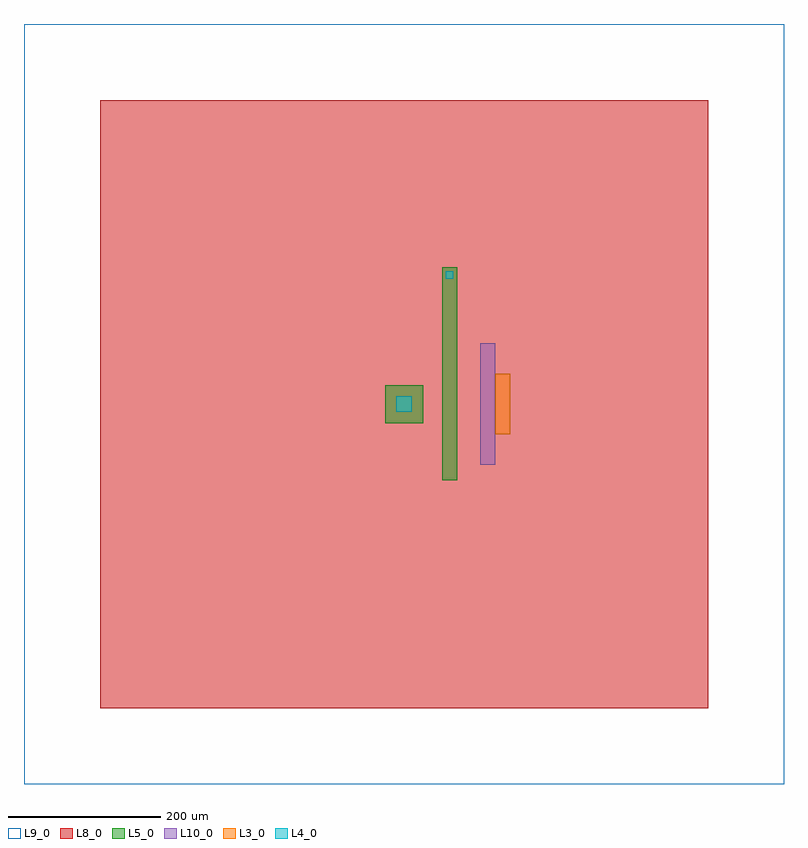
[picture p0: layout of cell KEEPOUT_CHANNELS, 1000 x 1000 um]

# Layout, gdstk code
import gdstk
lib = gdstk.Library(unit=1e-6, precision=1e-09)
def P(c, l, *ps):  # polygons
    for p in ps: c.add(gdstk.Polygon(p, *l))
L3_0 = (3, 0)
L4_0 = (4, 0)
L5_0 = (5, 0)
L8_0 = (8, 0)
L9_0 = (9, 0)
L10_0 = (10, 0)

keepout_channels = lib.new_cell('KEEPOUT_CHANNELS')
P(keepout_channels, L3_0, [(140,-40),(140,40),(120,40),(120,-40),(140,-40)])
P(keepout_channels, L4_0, [(10,-10),(10,10),(-10,10),(-10,-10),(10,-10)],
  [(65,165),(65,175),(55,175),(55,165),(65,165)])
P(keepout_channels, L5_0, [(25,-25),(25,25),(-25,25),(-25,-25),(25,-25)],
  [(70,-100),(70,180),(50,180),(50,-100),(70,-100)])
P(keepout_channels, L8_0, [(400,-400),(400,400),(-400,400),(-400,-400),(400,-400)])
P(keepout_channels, L9_0, [(500,-500),(500,500),(-500,500),(-500,-500),(500,-500)])
P(keepout_channels, L10_0, [(120,-80),(120,80),(100,80),(100,-80),(120,-80)])

lib.write_gds('KEEPOUT_CHANNELS.gds')
